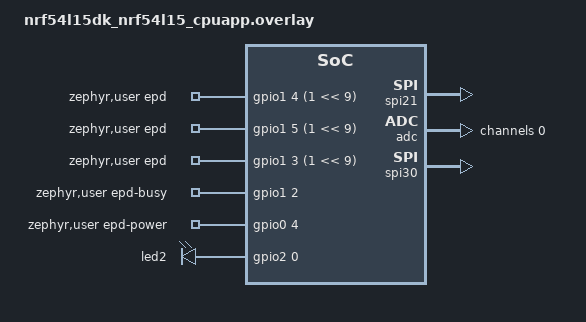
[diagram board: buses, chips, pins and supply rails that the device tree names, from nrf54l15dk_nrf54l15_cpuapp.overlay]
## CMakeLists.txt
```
cmake_minimum_required(VERSION 3.20.0)
find_package(Zephyr REQUIRED HINTS $ENV{ZEPHYR_BASE})

project(6colorpcbtest)

target_sources(app PRIVATE
  src/main.c
  src/ble/ble_image_transfer.c
  src/epd_driver.c
  src/dev_config.c
)
```

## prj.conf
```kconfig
# UART20 status output and existing project peripherals.
CONFIG_SERIAL=y
CONFIG_CONSOLE=n
CONFIG_UART_CONSOLE=n
CONFIG_USE_SEGGER_RTT=y
CONFIG_LOG=n
CONFIG_GPIO=y
CONFIG_SPI=y

# Bluetooth Low Energy peripheral/advertiser.
CONFIG_BT=y
CONFIG_BT_PERIPHERAL=y
CONFIG_BT_DEVICE_NAME="nRF54L15-Simple"

# MCUboot image creation and flash access for firmware updates.
CONFIG_BOOTLOADER_MCUBOOT=y
CONFIG_MCUBOOT_IMGTOOL_SIGN_VERSION="1.0.2+0"
CONFIG_FLASH=y
CONFIG_FLASH_MAP=y
CONFIG_STREAM_FLASH=y
CONFIG_IMG_MANAGER=y

# MCUmgr image management over an unauthenticated Bluetooth SMP service.
CONFIG_NET_BUF=y
CONFIG_ZCBOR=y
CONFIG_CRC=y
CONFIG_MCUMGR=y
CONFIG_MCUMGR_GRP_IMG=y
CONFIG_MCUMGR_GRP_OS=y
CONFIG_MCUMGR_TRANSPORT_BT=y
CONFIG_MCUMGR_TRANSPORT_BT_PERM_RW=y
CONFIG_MCUMGR_TRANSPORT_BT_CONN_PARAM_CONTROL=y
CONFIG_MCUMGR_TRANSPORT_BT_REASSEMBLY=y

# Buffers and stacks sized for BLE firmware upload packets.
CONFIG_BT_L2CAP_TX_MTU=498
CONFIG_BT_BUF_ACL_RX_SIZE=502
CONFIG_BT_BUF_ACL_TX_SIZE=502
CONFIG_BT_CTLR_DATA_LENGTH_MAX=251
CONFIG_BT_USER_DATA_LEN_UPDATE=y
CONFIG_BT_USER_PHY_UPDATE=y
CONFIG_BT_CTLR_PHY_2M=y
CONFIG_MCUMGR_TRANSPORT_NETBUF_SIZE=2475
CONFIG_MCUMGR_TRANSPORT_WORKQUEUE_STACK_SIZE=4608
CONFIG_SYSTEM_WORKQUEUE_STACK_SIZE=2304

CONFIG_CLOCK_CONTROL_NRF_K32SRC_RC=y
CONFIG_CLOCK_CONTROL_NRF_K32SRC_XTAL=n

CONFIG_FPROTECT=n
CONFIG_NRF_APPROTECT_DISABLE=y
CONFIG_NRF_SECURE_APPROTECT_DISABLE=y

CONFIG_NFCT_PINS_AS_GPIOS=y
CONFIG_ADC=n
CONFIG_ADC_NRFX_SAADC=n
```

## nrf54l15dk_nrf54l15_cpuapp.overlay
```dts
/ {
	zephyr,user {
		epd-gpios = <&gpio1 4 (1 << 9)>, <&gpio1 5 (1 << 9)>, <&gpio1 3 (1 << 9)>;
		epd-busy-gpios = <&gpio1 2 0>;
		epd-power-gpios = <&gpio0 4 0>;
		/delete-property/ batt-gpios;
		/delete-property/ io-channels;
	};
};

&uicr {
	nfct-pins-as-gpios;
};

&nfct {
	status = "disabled";
};

&mx25r64 {
	status = "disabled";
};

&uart21 {
	status = "disabled";
	pinctrl-0 = <&uart21_p106_p105>;
	pinctrl-1 = <&uart21_p106_p105_sleep>;
	pinctrl-names = "default", "sleep";
};

&pinctrl {
	uart21_p106_p105: uart21_p106_p105 {
		group1 {
			psels = <NRF_PSEL(UART_TX, 1, 6)>;
		};
	};

	uart21_p106_p105_sleep: uart21_p106_p105_sleep {
		group1 {
			psels = <NRF_PSEL(UART_TX, 1, 6)>;
			low-power-enable;
		};
	};

	spi21_sleep: spi21_sleep {
		group1 {
			psels = <NRF_PSEL(SPIM_MOSI, 1, 7)>;
		};
	};

	spi20_default: spi20_default {

		group2 {
			psels = <NRF_PSEL(SPIM_SCK, 0, 1)>, <NRF_PSEL(SPIM_MOSI, 0, 0)>;
			nordic,drive-mode = <NRF_DRIVE_S0H1>;
		};
	};

	spi20_sleep: spi20_sleep {
		group1 {
			psels = <NRF_PSEL(SPIM_MOSI, 0, 1)>;
		};
	};
};

&spi21 {
	status = "okay";
	pinctrl-0 = <&spi21_default>;
	pinctrl-1 = <&spi21_sleep>;
	pinctrl-names = "default", "sleep";
	max-frequency = <DT_FREQ_M(8)>;
};

&uart30 {
	status = "disabled";
};

&adc {
	#address-cells = <1>;
    #size-cells = <0>;
    status = "okay";

    channel@0 {
        reg = <0>;                        /* SAADC channel ID 0 */
        zephyr,gain = "ADC_GAIN_1_4";
        zephyr,reference = "ADC_REF_INTERNAL";
        zephyr,acquisition-time = <ADC_ACQ_TIME(ADC_ACQ_TIME_MICROSECONDS, 40)>;
        zephyr,input-positive = <NRF_SAADC_AIN4>;  /* P1.11 */
        zephyr,resolution = <14>;
    };
	/delete-node/ channel@2;
	/delete-node/ channel@3;
};

&spi20 {
	status = "disabled";
	pinctrl-0 = <&spi20_default>;
	pinctrl-1 = <&spi20_sleep>;
	pinctrl-names = "default", "sleep";
};

&uart20 {
	status = "disabled";
};

&spi22 {
	status = "disabled";
	max-frequency = <DT_FREQ_M(1)>;
};

&spi22_default {

	group2 {
		psels = <NRF_PSEL(SPIM_MOSI, 1, 7)>;
		nordic,drive-mode = <NRF_DRIVE_H0H1>;
	};

	group1 {
		psels = <NRF_PSEL(SPIM_SCK, 1, 6)>;
		nordic,drive-mode = <NRF_DRIVE_H0H1>;
	};
};

&uart22 {
	status = "disabled";
};
/delete-node/ &{/pin-controller/spi22_default/group1/};

&spi30 {
	status = "okay";
	max-frequency = <DT_FREQ_M(8)>;
};

&spi30_default {
	group2 {
		psels = <NRF_PSEL(SPIM_MOSI, 0, 1)>;
		nordic,drive-mode = <NRF_DRIVE_H0S1>;
	};

	group1 {
		psels = <NRF_PSEL(SPIM_MISO, 2, 0)>, <NRF_PSEL(SPIM_SCK, 0, 0)>;
	};
};

&led2 {
	gpios = <&gpio2 0 0>;
};
/delete-node/ &{/pin-controller/spi21_default/group1/};

&spi21_default {

	group2 {
		psels = <NRF_PSEL(SPIM_MOSI, 1, 7)>, <NRF_PSEL(SPIM_SCK, 1, 6)>;
		nordic,drive-mode = <NRF_DRIVE_S0H1>;
	};
};
```

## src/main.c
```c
#include <errno.h>

#include <zephyr/bluetooth/bluetooth.h>
#include <zephyr/bluetooth/conn.h>
#include <zephyr/device.h>
#include <zephyr/devicetree.h>
#include <zephyr/drivers/spi.h>
#include <zephyr/kernel.h>

#include "ble/ble_image_transfer.h"
#include "epd_driver.h"

#define EPD_GPIO_NODE DT_NODELABEL(gpio0)
#define EPD_SPI_NODE DT_NODELABEL(spi21)

static const struct device *const spi_dev = DEVICE_DT_GET_OR_NULL(EPD_SPI_NODE);
static const struct device *const gpio_dev = DEVICE_DT_GET(EPD_GPIO_NODE);
static struct bt_conn *active_conn;

static int start_advertising(void)
{
	return bt_le_adv_start(
		BT_LE_ADV_PARAM(BT_LE_ADV_OPT_CONN | BT_LE_ADV_OPT_USE_NAME,
				BT_GAP_ADV_FAST_INT_MIN_2,
				BT_GAP_ADV_FAST_INT_MAX_2, NULL),
		NULL, 0, NULL, 0);
}

static void advertising_work_handler(struct k_work *work)
{
	ARG_UNUSED(work);

	(void)start_advertising();
}

K_WORK_DEFINE(advertising_work, advertising_work_handler);

static void throughput_work_handler(struct k_work *work)
{
	struct bt_conn *conn;

	ARG_UNUSED(work);

	if (!active_conn) {
		return;
	}

	conn = bt_conn_ref(active_conn);

	(void)bt_conn_le_param_update(conn, BT_LE_CONN_PARAM(6, 12, 0, 400));

#if defined(CONFIG_BT_USER_DATA_LEN_UPDATE)
	(void)bt_conn_le_data_len_update(conn, BT_LE_DATA_LEN_PARAM_MAX);
#endif

#if defined(CONFIG_BT_USER_PHY_UPDATE)
	(void)bt_conn_le_phy_update(conn, BT_CONN_LE_PHY_PARAM_2M);
#endif

	bt_conn_unref(conn);
}

K_WORK_DELAYABLE_DEFINE(throughput_work, throughput_work_handler);

static void connected(struct bt_conn *conn, uint8_t err)
{
	if (err != 0) {
		k_work_submit(&advertising_work);
		return;
	}

	if (active_conn) {
		bt_conn_unref(active_conn);
	}

	active_conn = bt_conn_ref(conn);
	k_work_schedule(&throughput_work, K_MSEC(500));
}

static void disconnected(struct bt_conn *conn, uint8_t reason)
{
	ARG_UNUSED(conn);
	ARG_UNUSED(reason);

	k_work_cancel_delayable(&throughput_work);
	if (active_conn) {
		bt_conn_unref(active_conn);
		active_conn = NULL;
	}

	ble_image_transfer_reset();
}

static void recycled(void)
{
	/* Bluetooth API calls must not be made directly from this callback. */
	k_work_submit(&advertising_work);
}

BT_CONN_CB_DEFINE(connection_callbacks) = {
	.connected = connected,
	.disconnected = disconnected,
	.recycled = recycled,
};

int main(void)
{
	int ret;

	if (!spi_dev || !device_is_ready(spi_dev)) {
		return -ENODEV;
	}

	if (!device_is_ready(gpio_dev)) {
		return -ENODEV;
	}

	ret = epd_init(spi_dev, gpio_dev);
	if (ret != 0) {
		return ret;
	}

	ret = epd_hibernate();
	if (ret != 0) {
		return ret;
	}

	ret = ble_image_transfer_init();
	if (ret != 0) {
		return ret;
	}

	ret = bt_enable(NULL);
	if (ret != 0) {
		return ret;
	}

	ret = start_advertising();
	if (ret != 0) {
		return ret;
	}

	while (true) {
		k_sleep(K_FOREVER);
	}
}
```

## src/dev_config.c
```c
#include "dev_config.h"

#include <zephyr/devicetree.h>
#include <zephyr/drivers/gpio.h>
#include <zephyr/drivers/spi.h>
#include <zephyr/kernel.h>
#include <zephyr/sys/util.h>

#define EPD_NODE DT_PATH(zephyr_user)

BUILD_ASSERT(DT_NODE_EXISTS(EPD_NODE), "zephyr,user node is required");
BUILD_ASSERT(DT_PROP_LEN(EPD_NODE, epd_gpios) >= 3,
             "zephyr,user must define dc/cs/rst in epd-gpios");

static const struct gpio_dt_spec epd_dc =
    GPIO_DT_SPEC_GET_BY_IDX(EPD_NODE, epd_gpios, 0);
static const struct gpio_dt_spec epd_cs =
    GPIO_DT_SPEC_GET_BY_IDX(EPD_NODE, epd_gpios, 1);
static const struct gpio_dt_spec epd_rst =
    GPIO_DT_SPEC_GET_BY_IDX(EPD_NODE, epd_gpios, 2);

#if DT_NODE_HAS_PROP(EPD_NODE, epd_power_gpios)
static const struct gpio_dt_spec epd_power =
    GPIO_DT_SPEC_GET(EPD_NODE, epd_power_gpios);
#define DEV_CONFIG_HAS_POWER 1
#else
#define DEV_CONFIG_HAS_POWER 0
#endif

static const struct device *epd_spi_dev;

static const struct spi_config epd_spi_cfg = {
    .frequency = 4000000U,
    .operation = SPI_OP_MODE_MASTER | SPI_WORD_SET(8) | SPI_TRANSFER_MSB,
    .slave = 0U,
    .cs = {
        .gpio = { 0 },
        .delay = 0U,
    },
};

static const struct gpio_dt_spec *dev_lookup_gpio(uint8_t pin) {
  switch (pin) {
  case DEV_PIN_DC:
    return &epd_dc;
  case DEV_PIN_CS:
    return &epd_cs;
  case DEV_PIN_RST:
    return &epd_rst;
#if DEV_CONFIG_HAS_POWER
  case DEV_PIN_PWR:
    return &epd_power;
#endif
  default:
    return NULL;
  }
}

static int dev_configure_output(const struct gpio_dt_spec *spec, int value) {
  int ret;

  if (!spec || !device_is_ready(spec->port)) {
    return -ENODEV;
  }

  ret = gpio_pin_configure_dt(spec, GPIO_OUTPUT);
  if (ret != 0) {
    return ret;
  }

  return gpio_pin_set_raw(spec->port, spec->pin, value);
}

int DEV_Module_Init(const struct device *spi_dev, const struct device *gpio_dev) {
  int ret;

  ARG_UNUSED(gpio_dev);

  epd_spi_dev = spi_dev;
  if (!epd_spi_dev || !device_is_ready(epd_spi_dev)) {
    return -ENODEV;
  }

  ret = dev_configure_output(&epd_cs, 1);
  if (ret != 0) {
    return ret;
  }

  ret = dev_configure_output(&epd_dc, 0);
  if (ret != 0) {
    return ret;
  }

  ret = dev_configure_output(&epd_rst, 1);
  if (ret != 0) {
    return ret;
  }

#if DEV_CONFIG_HAS_POWER
  ret = dev_configure_output(&epd_power, 1);
  if (ret != 0) {
    return ret;
  }
#endif

  return 0;
}

void DEV_GPIO_Init(void) {}

void DEV_SPI_Init(void) {}

int DEV_Digital_Write(uint8_t pin, uint8_t value) {
  const struct gpio_dt_spec *spec = dev_lookup_gpio(pin);

  if (!spec) {
    return -ENOTSUP;
  }

  return gpio_pin_set_raw(spec->port, spec->pin, value);
}

int DEV_Digital_Read(uint8_t pin) {
  const struct gpio_dt_spec *spec = dev_lookup_gpio(pin);

  if (!spec) {
    return -ENOTSUP;
  }

  return gpio_pin_get_raw(spec->port, spec->pin);
}

void DEV_Delay_ms(uint32_t xms) { k_msleep(xms); }

int DEV_SPI_WriteByte(uint8_t data) {
  struct spi_buf tx_buf = {
      .buf = &data,
      .len = 1U,
  };
  struct spi_buf_set tx = {
      .buffers = &tx_buf,
      .count = 1U,
  };

  if (!epd_spi_dev) {
    return -ENODEV;
  }

  return spi_write(epd_spi_dev, &epd_spi_cfg, &tx);
}

int DEV_SPI_Write_nByte(const uint8_t *data, uint32_t len) {
  struct spi_buf tx_buf = {
      .buf = (void *)data,
      .len = len,
  };
  struct spi_buf_set tx = {
      .buffers = &tx_buf,
      .count = 1U,
  };

  if (!epd_spi_dev) {
    return -ENODEV;
  }

  return spi_write(epd_spi_dev, &epd_spi_cfg, &tx);
}

void DEV_Module_Exit(void) {
#if DEV_CONFIG_HAS_POWER
  (void)gpio_pin_set_dt(&epd_power, 0);
#endif
}
```

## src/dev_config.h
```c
#ifndef DEV_CONFIG_H
#define DEV_CONFIG_H

#include <stdbool.h>
#include <stdint.h>
#include <zephyr/device.h>

typedef uint8_t UBYTE;
typedef uint16_t UWORD;
typedef uint32_t UDOUBLE;

enum dev_gpio_pin {
  DEV_PIN_DC = 0,
  DEV_PIN_CS,
  DEV_PIN_RST,
  DEV_PIN_PWR,
};

#define EPD_DC_PIN DEV_PIN_DC
#define EPD_CS_PIN DEV_PIN_CS
#define EPD_RST_PIN DEV_PIN_RST
#define EPD_PWR_PIN DEV_PIN_PWR

#define GPIO_PIN_SET 1
#define GPIO_PIN_RESET 0

int DEV_Module_Init(const struct device *spi_dev, const struct device *gpio_dev);
void DEV_GPIO_Init(void);
void DEV_SPI_Init(void);
int DEV_Digital_Write(uint8_t pin, uint8_t value);
int DEV_Digital_Read(uint8_t pin);
void DEV_Delay_ms(uint32_t xms);
int DEV_SPI_WriteByte(uint8_t data);
int DEV_SPI_Write_nByte(const uint8_t *data, uint32_t len);
void DEV_Module_Exit(void);

#endif
```

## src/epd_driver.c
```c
#include "dev_config.h"
#include "epd_interface.h"

#include <string.h>
#include <zephyr/devicetree.h>
#include <zephyr/logging/log.h>
#include <zephyr/sys/util.h>
#if defined(CONFIG_PM_DEVICE)
#include <zephyr/pm/device.h>
#endif

LOG_MODULE_REGISTER(epd_driver_4gray);

#define EPD_NODE DT_PATH(zephyr_user)
#define EPD_BUSY_TIMEOUT_MS 45000
#define EPD_CHUNK_BYTES 64U
#define EPD_CS_IDLE 1
#define EPD_CS_ACTIVE 0

enum epd_update_mode {
  EPD_UPDATE_MODE_NONE = 0,
  EPD_UPDATE_MODE_FULL,
  EPD_UPDATE_MODE_FAST,
  EPD_UPDATE_MODE_4GRAY,
};

static const struct device *epd_spi_dev;
static enum epd_update_mode epd_active_mode = EPD_UPDATE_MODE_NONE;
static bool epd_ready;
static bool epd_hibernating;
static const struct gpio_dt_spec epd_busy =
    GPIO_DT_SPEC_GET(EPD_NODE, epd_busy_gpios);

static int epd_cs_idle(void) {
  return DEV_Digital_Write(EPD_CS_PIN, EPD_CS_IDLE);
}

static int epd_cs_active(void) {
  return DEV_Digital_Write(EPD_CS_PIN, EPD_CS_ACTIVE);
}

static int epd_send_command(uint8_t reg) {
  int ret;

  ret = DEV_Digital_Write(EPD_DC_PIN, GPIO_PIN_RESET);
  if (ret != 0) {
    return ret;
  }

  ret = DEV_Digital_Write(EPD_CS_PIN, GPIO_PIN_RESET);
  if (ret != 0) {
    return ret;
  }

  ret = DEV_SPI_WriteByte(reg);
  (void)DEV_Digital_Write(EPD_CS_PIN, GPIO_PIN_SET);
  return ret;
}

static int epd_send_data(uint8_t data) {
  int ret;

  ret = DEV_Digital_Write(EPD_DC_PIN, GPIO_PIN_SET);
  if (ret != 0) {
    return ret;
  }

  ret = DEV_Digital_Write(EPD_CS_PIN, GPIO_PIN_RESET);
  if (ret != 0) {
    return ret;
  }

  ret = DEV_SPI_WriteByte(data);
  (void)DEV_Digital_Write(EPD_CS_PIN, GPIO_PIN_SET);
  return ret;
}

static int epd_send_buffer(const uint8_t *data, size_t len) {
  int ret;

  ret = DEV_Digital_Write(EPD_DC_PIN, GPIO_PIN_SET);
  if (ret != 0) {
    return ret;
  }

  ret = epd_cs_active();
  if (ret != 0) {
    return ret;
  }

  ret = DEV_SPI_Write_nByte(data, (uint32_t)len);
  (void)epd_cs_idle();
  return ret;
}

static int epd_send_data_array(const uint8_t *data, size_t len) {
  int ret;

  for (size_t i = 0U; i < len; ++i) {
    ret = epd_send_data(data[i]);
    if (ret != 0) {
      return ret;
    }
  }

  return 0;
}

static int epd_send_command_data(uint8_t command, const uint8_t *data,
                                 size_t len) {
  int ret;

  ret = epd_send_command(command);
  if (ret != 0) {
    return ret;
  }

  return epd_send_data_array(data, len);
}

static int epd_reset(void) {
  int ret;

  ret = DEV_Digital_Write(EPD_RST_PIN, GPIO_PIN_RESET);
  if (ret != 0) {
    return ret;
  }
  DEV_Delay_ms(10);

  ret = DEV_Digital_Write(EPD_RST_PIN, GPIO_PIN_SET);
  if (ret != 0) {
    return ret;
  }
  DEV_Delay_ms(10);

  epd_hibernating = false;
  return 0;
}

static int epd_wait_idle(void) {
  int timeout_ms = EPD_BUSY_TIMEOUT_MS;
  int busy_level;

  if (!device_is_ready(epd_busy.port)) {
    return -ENODEV;
  }

  while (timeout_ms > 0) {
    busy_level = gpio_pin_get_dt(&epd_busy);
    if (busy_level < 0) {
      return busy_level;
    }

    if (busy_level == 0) {
      return 0;
    }

    DEV_Delay_ms(10);
    timeout_ms -= 10;
  }

  LOG_ERR("EPD busy timeout");
  return -ETIMEDOUT;
}

static int epd_write_repeated(uint8_t value, uint32_t len) {
  uint8_t chunk[EPD_CHUNK_BYTES];
  int ret;

  memset(chunk, value, sizeof(chunk));

  while (len > 0U) {
    uint32_t write_len = MIN(len, (uint32_t)sizeof(chunk));

    ret = epd_send_buffer(chunk, write_len);
    if (ret != 0) {
      return ret;
    }

    len -= write_len;
  }

  return 0;
}

static int epd_set_full_ram_area(uint8_t data_entry_mode) {
  const uint16_t width_end = EPD_PANEL_WIDTH - 1U;
  const uint16_t height_end = EPD_PANEL_HEIGHT - 1U;
  const uint8_t driver_output[] = {
      (uint8_t)(width_end & 0xFFU),
      (uint8_t)(width_end >> 8),
      0x02U,
  };
  const uint8_t entry_mode[] = { data_entry_mode };
  const uint8_t ram_x[] = {
      0x00U,
      0x00U,
      (uint8_t)(height_end & 0xFFU),
      (uint8_t)(height_end >> 8),
  };
  const uint8_t ram_y[] = {
      0x00U,
      0x00U,
      (uint8_t)(width_end & 0xFFU),
      (uint8_t)(width_end >> 8),
  };
  const uint8_t ram_start[] = { 0x00U, 0x00U };
  int ret;

  ret = epd_send_command_data(0x01, driver_output, sizeof(driver_output));
  if (ret != 0) {
    return ret;
  }

  ret = epd_send_command_data(0x11, entry_mode, sizeof(entry_mode));
  if (ret != 0) {
    return ret;
  }

  ret = epd_send_command_data(0x44, ram_x, sizeof(ram_x));
  if (ret != 0) {
    return ret;
  }

  ret = epd_send_command_data(0x45, ram_y, sizeof(ram_y));
  if (ret != 0) {
    return ret;
  }

  ret = epd_send_command_data(0x4E, ram_start, sizeof(ram_start));
  if (ret != 0) {
    return ret;
  }

  return epd_send_command_data(0x4F, ram_start, sizeof(ram_start));
}

static int epd_panel_init(enum epd_update_mode mode) {
  const uint8_t booster_soft_start[] = { 0xAEU, 0xC7U, 0xC3U, 0xC0U, 0x80U };
  const uint8_t border_waveform[] = { 0x01U };
  const uint8_t temp_sensor[] = { 0x80U };
  const uint8_t mode_4gray[] = { 0x5AU };
  const uint8_t mode_fast[] = { 0x6AU };
  int ret;

  ret = epd_reset();
  if (ret != 0) {
    return ret;
  }

  ret = epd_wait_idle();
  if (ret != 0) {
    return ret;
  }

  ret = epd_send_command(0x12);
  if (ret != 0) {
    return ret;
  }

  ret = epd_wait_idle();
  if (ret != 0) {
    return ret;
  }

  if (mode == EPD_UPDATE_MODE_FULL) {
    ret = epd_send_command_data(0x18, temp_sensor, sizeof(temp_sensor));
    if (ret != 0) {
      return ret;
    }
  }

  ret = epd_send_command_data(0x0C, booster_soft_start,
                              sizeof(booster_soft_start));
  if (ret != 0) {
    return ret;
  }

  if (mode == EPD_UPDATE_MODE_FULL) {
    ret = epd_send_command_data(0x3C, border_waveform,
                                sizeof(border_waveform));
    if (ret != 0) {
      return ret;
    }
  }

  ret = epd_set_full_ram_area(0x03U);
  if (ret != 0) {
    return ret;
  }

  ret = epd_wait_idle();
  if (ret != 0) {
    return ret;
  }

  if (mode != EPD_UPDATE_MODE_FULL) {
    ret = epd_send_command_data(0x3C, border_waveform,
                                sizeof(border_waveform));
    if (ret != 0) {
      return ret;
    }

    ret = epd_send_command_data(0x18, temp_sensor, sizeof(temp_sensor));
    if (ret != 0) {
      return ret;
    }

    if (mode == EPD_UPDATE_MODE_4GRAY) {
      ret = epd_send_command_data(0x1A, mode_4gray, sizeof(mode_4gray));
    } else {
      ret = epd_send_command_data(0x1A, mode_fast, sizeof(mode_fast));
    }
    if (ret != 0) {
      return ret;
    }
  }

  epd_active_mode = mode;
  epd_ready = true;
  epd_hibernating = false;
  return 0;
}

static int epd_prepare_update(enum epd_update_mode mode) {
  if (!epd_ready || epd_hibernating || epd_active_mode != mode) {
    return epd_panel_init(mode);
  }

  return 0;
}

static int epd_update(uint8_t update_control) {
  int ret;

  ret = epd_send_command(0x22);
  if (ret != 0) {
    return ret;
  }

  ret = epd_send_data(update_control);
  if (ret != 0) {
    return ret;
  }

  ret = epd_send_command(0x20);
  if (ret != 0) {
    return ret;
  }

  return epd_wait_idle();
}

static uint8_t epd_4gray_ram1_from_2bpp(uint8_t data1, uint8_t data2) {
  uint8_t out = 0U;
  uint8_t temp1 = data1;
  uint8_t temp2 = data2;

  for (uint8_t i = 0U; i < 4U; ++i) {
    out <<= 1;
    if ((temp1 & 0xC0U) == 0xC0U || (temp1 & 0xC0U) == 0x40U) {
      out |= 0x01U;
    }
    temp1 <<= 2;
  }

  for (uint8_t i = 0U; i < 4U; ++i) {
    out <<= 1;
    if ((temp2 & 0xC0U) == 0xC0U || (temp2 & 0xC0U) == 0x40U) {
      out |= 0x01U;
    }
    temp2 <<= 2;
  }

  return out;
}

static uint8_t epd_4gray_ram2_from_2bpp(uint8_t data1, uint8_t data2) {
  uint8_t out = 0U;
  uint8_t temp1 = data1;
  uint8_t temp2 = data2;

  for (uint8_t i = 0U; i < 4U; ++i) {
    out <<= 1;
    if ((temp1 & 0xC0U) == 0xC0U || (temp1 & 0xC0U) == 0x80U) {
      out |= 0x01U;
    }
    temp1 <<= 2;
  }

  for (uint8_t i = 0U; i < 4U; ++i) {
    out <<= 1;
    if ((temp2 & 0xC0U) == 0xC0U || (temp2 & 0xC0U) == 0x80U) {
      out |= 0x01U;
    }
    temp2 <<= 2;
  }

  return out;
}

int epd_bus_resume(void) {
#if defined(CONFIG_PM_DEVICE)
  if (!epd_spi_dev) {
    return -ENODEV;
  }
  return pm_device_action_run(epd_spi_dev, PM_DEVICE_ACTION_RESUME);
#else
  return 0;
#endif
}

int epd_bus_suspend(void) {
#if defined(CONFIG_PM_DEVICE)
  if (!epd_spi_dev) {
    return -ENODEV;
  }
  return pm_device_action_run(epd_spi_dev, PM_DEVICE_ACTION_SUSPEND);
#else
  return 0;
#endif
}

int epd_init(const struct device *spi_dev, const struct device *gpio_dev) {
  int ret;

  epd_spi_dev = spi_dev;
  ARG_UNUSED(gpio_dev);

  if (!epd_spi_dev || !device_is_ready(epd_spi_dev)) {
    return -ENODEV;
  }

  if (!device_is_ready(epd_busy.port)) {
    return -ENODEV;
  }

  ret = DEV_Module_Init(spi_dev, gpio_dev);
  if (ret != 0) {
    return ret;
  }

  ret = gpio_pin_configure_dt(&epd_busy, GPIO_INPUT);
  if (ret != 0) {
    return ret;
  }

  return epd_panel_init(EPD_UPDATE_MODE_4GRAY);
}

int epd_clear_screen(uint8_t black_value, uint8_t color_value) {
  ARG_UNUSED(color_value);

  if (black_value == 0x00U) {
    return epd_clear_black();
  }

  return epd_clear_white();
}

int epd_clear_white(void) {
  int ret;

  ret = epd_prepare_update(EPD_UPDATE_MODE_FULL);
  if (ret != 0) {
    return ret;
  }

  ret = epd_send_command(0x24);
  if (ret != 0) {
    return ret;
  }
  ret = epd_write_repeated(0xFFU, EPD_BW_IMAGE_BYTES);
  if (ret != 0) {
    return ret;
  }

  ret = epd_send_command(0x26);
  if (ret != 0) {
    return ret;
  }
  ret = epd_write_repeated(0xFFU, EPD_BW_IMAGE_BYTES);
  if (ret != 0) {
    return ret;
  }

  return epd_update(0xF7U);
}

int epd_clear_black(void) {
  int ret;

  ret = epd_prepare_update(EPD_UPDATE_MODE_FULL);
  if (ret != 0) {
    return ret;
  }

  ret = epd_send_command(0x24);
  if (ret != 0) {
    return ret;
  }
  ret = epd_write_repeated(0x00U, EPD_BW_IMAGE_BYTES);
  if (ret != 0) {
    return ret;
  }

  ret = epd_send_command(0x26);
  if (ret != 0) {
    return ret;
  }
  ret = epd_write_repeated(0xFFU, EPD_BW_IMAGE_BYTES);
  if (ret != 0) {
    return ret;
  }

  return epd_update(0xF7U);
}

int epd_display_bw(const uint8_t *buffer) {
  int ret;

  if (!buffer) {
    return -EINVAL;
  }

  ret = epd_prepare_update(EPD_UPDATE_MODE_FULL);
  if (ret != 0) {
    return ret;
  }

  ret = epd_send_command(0x24);
  if (ret != 0) {
    return ret;
  }
  ret = epd_send_buffer(buffer, EPD_BW_IMAGE_BYTES);
  if (ret != 0) {
    return ret;
  }

  ret = epd_send_command(0x26);
  if (ret != 0) {
    return ret;
  }
  ret = epd_write_repeated(0xFFU, EPD_BW_IMAGE_BYTES);
  if (ret != 0) {
    return ret;
  }

  return epd_update(0xF7U);
}

int epd_display_bw_fast(const uint8_t *buffer) {
  int ret;

  if (!buffer) {
    return -EINVAL;
  }

  ret = epd_prepare_update(EPD_UPDATE_MODE_FAST);
  if (ret != 0) {
    return ret;
  }

  ret = epd_send_command(0x24);
  if (ret != 0) {
    return ret;
  }
  ret = epd_send_buffer(buffer, EPD_BW_IMAGE_BYTES);
  if (ret != 0) {
    return ret;
  }

  ret = epd_send_command(0x26);
  if (ret != 0) {
    return ret;
  }
  ret = epd_write_repeated(0xFFU, EPD_BW_IMAGE_BYTES);
  if (ret != 0) {
    return ret;
  }

  return epd_update(0xD7U);
}

int epd_display_4gray(const uint8_t *buffer) {
  int ret;

  if (!buffer) {
    return -EINVAL;
  }

  ret = epd_prepare_update(EPD_UPDATE_MODE_4GRAY);
  if (ret != 0) {
    return ret;
  }

  ret = epd_send_command(0x24);
  if (ret != 0) {
    return ret;
  }
  for (uint32_t i = 0U; i < EPD_4GRAY_IMAGE_BYTES; i += 2U) {
    ret = epd_send_data((uint8_t)~epd_4gray_ram1_from_2bpp(buffer[i],
                                                           buffer[i + 1U]));
    if (ret != 0) {
      return ret;
    }
  }

  ret = epd_send_command(0x26);
  if (ret != 0) {
    return ret;
  }
  for (uint32_t i = 0U; i < EPD_4GRAY_IMAGE_BYTES; i += 2U) {
    ret = epd_send_data((uint8_t)~epd_4gray_ram2_from_2bpp(buffer[i],
                                                           buffer[i + 1U]));
    if (ret != 0) {
      return ret;
    }
  }

  return epd_update(0xD7U);
}

int display_image(const uint8_t *buffer) { return epd_display_4gray(buffer); }

int epd_power_off(void) { return epd_hibernate(); }

int epd_hibernate(void) {
  int ret;

  if (!epd_ready && epd_hibernating) {
    return 0;
  }

  ret = epd_send_command(0x10);
  if (ret != 0) {
    return ret;
  }

  ret = epd_send_data(0x01U);
  if (ret != 0) {
    return ret;
  }

  DEV_Delay_ms(100);
  epd_ready = false;
  epd_hibernating = true;
  epd_active_mode = EPD_UPDATE_MODE_NONE;
  return 0;
}

void drawBitmap(int16_t x, int16_t y, const uint8_t *bitmap, int16_t w,
                int16_t h, bool color) {
  ARG_UNUSED(x);
  ARG_UNUSED(y);
  ARG_UNUSED(bitmap);
  ARG_UNUSED(w);
  ARG_UNUSED(h);
  ARG_UNUSED(color);
}
```

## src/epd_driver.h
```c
#ifndef EPD_DRIVER_H
#define EPD_DRIVER_H

#include <zephyr/device.h>
#include <zephyr/drivers/gpio.h>
#include <zephyr/drivers/spi.h>
#include <zephyr/kernel.h>

#ifndef EPD_PANEL_WIDTH
#define EPD_PANEL_WIDTH 480U
#define EPD_PANEL_HEIGHT 800U
#define EPD_BW_IMAGE_BYTES (EPD_PANEL_WIDTH * EPD_PANEL_HEIGHT / 8U)
#define EPD_4GRAY_IMAGE_BYTES (EPD_BW_IMAGE_BYTES * 2U)
#endif

int epd_init(const struct device *spi_dev, const struct device *gpio_dev);
int epd_clear_screen(uint8_t black_value, uint8_t color_value);
int epd_clear_white(void);
int epd_clear_black(void);
int epd_hibernate(void);
int epd_power_off(void);
int epd_display_bw(const uint8_t *buffer);
int epd_display_bw_fast(const uint8_t *buffer);
int epd_display_4gray(const uint8_t *buffer);
int display_image(const uint8_t *buffer);
int epd_bus_resume(void);
int epd_bus_suspend(void);
void drawBitmap(int16_t x, int16_t y, const uint8_t *bitmap, int16_t w,
                int16_t h, bool color);

#endif
```

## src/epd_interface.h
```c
#ifndef EPD_INTERFACE_H
#define EPD_INTERFACE_H

#include <zephyr/device.h>
#include <zephyr/drivers/gpio.h>
#include <zephyr/drivers/spi.h>
#include <zephyr/kernel.h>

#ifndef EPD_PANEL_WIDTH
#define EPD_PANEL_WIDTH 480U
#define EPD_PANEL_HEIGHT 800U
#define EPD_BW_IMAGE_BYTES (EPD_PANEL_WIDTH * EPD_PANEL_HEIGHT / 8U)
#define EPD_4GRAY_IMAGE_BYTES (EPD_BW_IMAGE_BYTES * 2U)
#endif

/**
 * @brief Initialize the e-ink display driver
 */
int epd_init(const struct device *spi_dev, const struct device *gpio_dev);

/**
 * @brief Clear the screen with specified values
 */
int epd_clear_screen(uint8_t black_value, uint8_t color_value);

/**
 * @brief Clear the screen to white
 */
int epd_clear_white(void);

/**
 * @brief Clear the screen to black
 */
int epd_clear_black(void);

/**
 * @brief Put the display into hibernation mode
 */
int epd_hibernate(void);

/**
 * @brief Turn display power off
 */
int epd_power_off(void);

/**
 * @brief Display a 1-bit black/white image buffer using a full refresh
 */
int epd_display_bw(const uint8_t *buffer);

/**
 * @brief Display a 1-bit black/white image buffer using fast refresh
 */
int epd_display_bw_fast(const uint8_t *buffer);

/**
 * @brief Display a 2-bit-per-pixel 4-gray image buffer
 */
int epd_display_4gray(const uint8_t *buffer);

/**
 * @brief Display a 2-bit-per-pixel 4-gray image buffer
 */
int display_image(const uint8_t *buffer);

/**
 * @brief Resume the display SPI device (power management).
 *
 * This is a no-op if device PM is not enabled.
 */
int epd_bus_resume(void);

/**
 * @brief Suspend the display SPI device (power management).
 *
 * This is a no-op if device PM is not enabled.
 */
int epd_bus_suspend(void);

/*
 * Helper prototype for drawing bitmaps if needed by app,
 * though strictly this might be better in a graphics library.
 */
void drawBitmap(int16_t x, int16_t y, const uint8_t *bitmap, int16_t w,
                int16_t h, bool color);

#endif /* EPD_INTERFACE_H */
```
